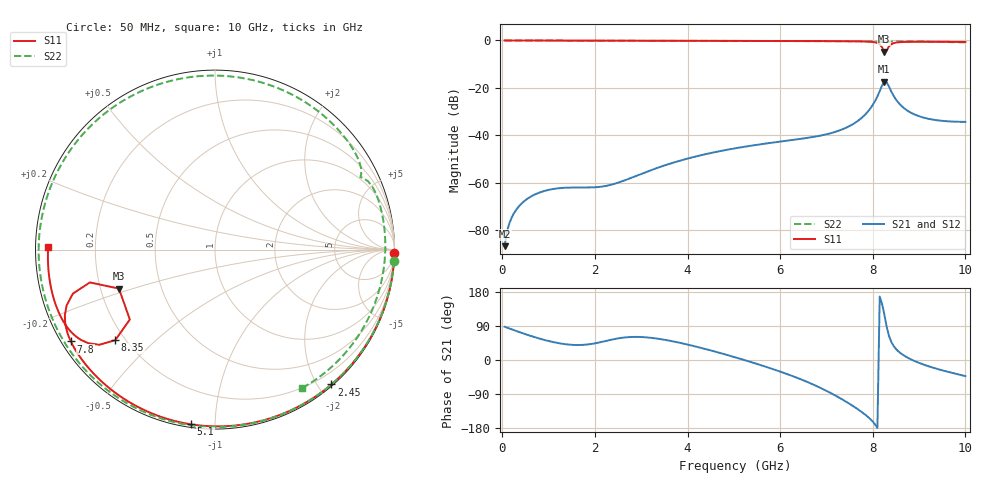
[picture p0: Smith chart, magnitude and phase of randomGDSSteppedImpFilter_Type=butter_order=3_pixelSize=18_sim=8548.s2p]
! freq	dB(S11)	phase(S11)	dB(S12)	phase(S12)
!  dB(S21)	phase(S21)	dB(S22)	phase(S22)
!S-par simulation data
#  GHz  S  DB  R 50
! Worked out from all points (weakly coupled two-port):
!   200 points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, 50 MHz to 10 GHz, reference 50 ohm
!   highest |S21| = -17.35 dB at 8.25 GHz (marker M1); lowest = -86.8 dB at 50 MHz (marker M2)
!   lowest |S11| = -4.8 dB at 8.25 GHz (marker M3), VSWR 3.74, Z = 13.9 - j9.03 ohm
!   |S11| at or under -10 dB: nowhere
!   |S22| runs from -0.9 to 0.0 dB; largest |S21 - S12| = 0
!   S11 on the Smith chart (normalised r, x): 50 MHz: open; 2.45 GHz: 0.02, -2.18; 5.1 GHz: 0.02, -0.87; 7.8 GHz: 0.03, -0.29; 8.35 GHz: 0.16, -0.38; 10 GHz: 0.04, +0.01
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0.05  -0.00 -1.0  -86.78 87.7  -86.78 87.7  -0.00 -3.5
0.1  -0.00 -2.1  -80.79 85.4  -80.79 85.4  -0.01 -7.0
0.35  -0.01 -7.2  -70.18 74.4  -70.18 74.4  -0.03 -24.1
0.65  -0.02 -13.3  -65.50 62.1  -65.50 62.1  -0.06 -44.0
1.15  -0.03 -23.5  -62.51 46.0  -62.51 46.0  -0.09 -74.5
1.75  -0.04 -35.5  -62.05 40.0  -62.05 40.0  -0.11 -105.8
2.45  -0.06 -49.2  -60.32 55.9  -60.32 55.9  -0.12 -136.2
3.4  -0.09 -67.2  -53.40 55.5  -53.40 55.5  -0.14 -170.4
4.2  -0.11 -81.9  -48.84 34.8  -48.84 34.8  -0.17 164.1
5.05  -0.15 -97.0  -45.42 6.4  -45.42 6.4  -0.20 138.0
5.1  -0.15 -97.9  -45.25 4.6  -45.25 4.6  -0.20 136.5
5.95  -0.20 -112.7  -42.79 -28.5  -42.79 -28.5  -0.24 109.9
6.7  -0.25 -125.7  -40.76 -64.0  -40.76 -64.0  -0.28 84.9
7.35  -0.31 -137.6  -37.45 -104.6  -37.45 -104.6  -0.32 61.4
7.8  -0.43 -147.5  -31.95 -140.8  -31.95 -140.8  -0.38 43.9
8.1  -1.07 -159.3  -23.60 -179.5  -23.60 -179.5  -0.53 31.3
8.25  -4.77 -157.9  -17.35 119.8  -17.35 119.8  -0.86 26.5
8.35  -2.49 -137.8  -19.50 63.5  -19.50 63.5  -0.59 24.0
8.6  -0.69 -150.1  -27.24 18.0  -27.24 18.0  -0.43 12.1
8.9  -0.55 -158.2  -31.21 -2.6  -31.21 -2.6  -0.46 -1.8
9.45  -0.57 -169.7  -33.82 -25.5  -33.82 -25.5  -0.60 -28.6
10  -0.63 179.3  -34.35 -42.5  -34.35 -42.5  -0.81 -57.9
